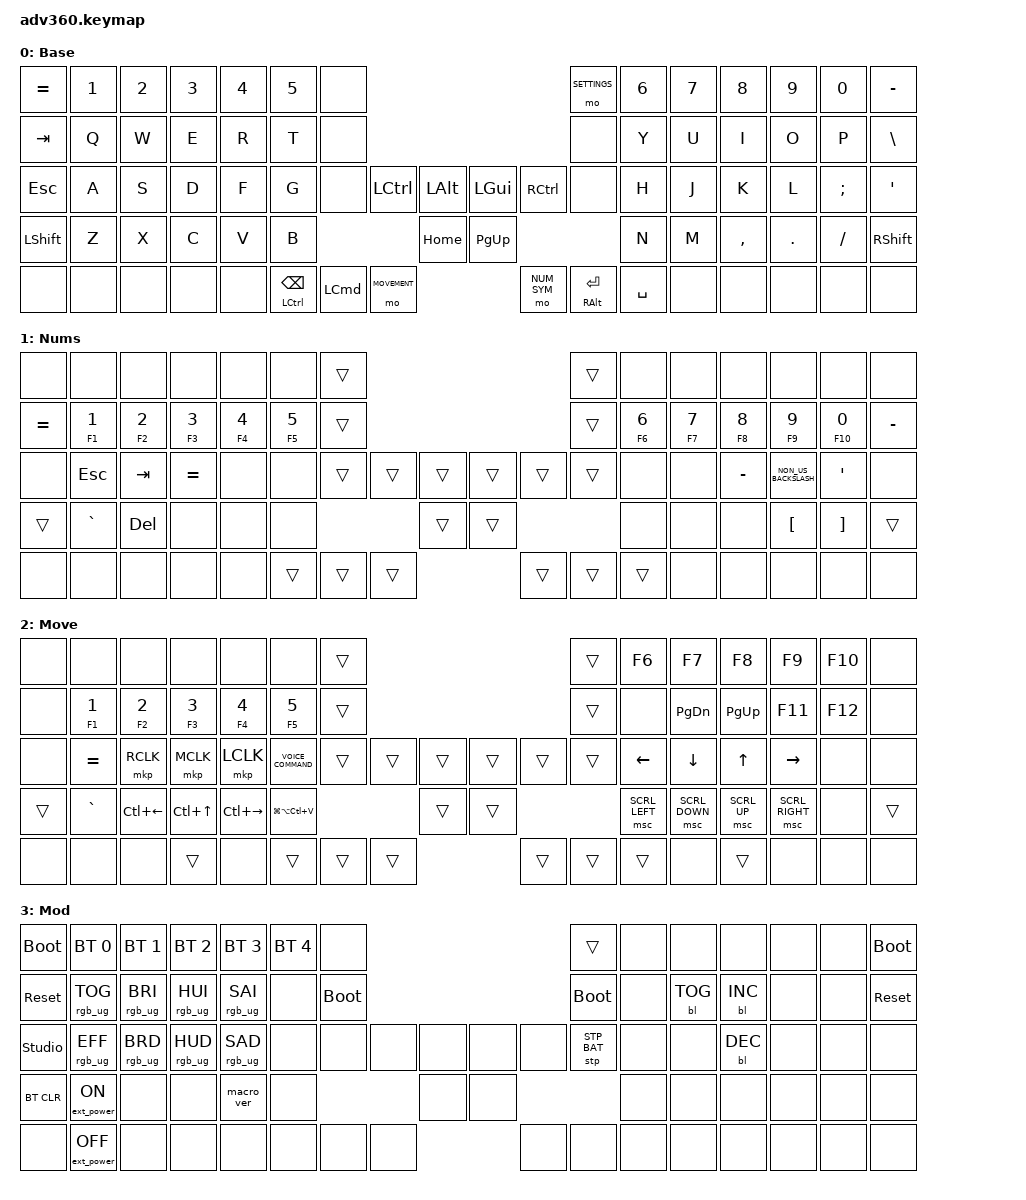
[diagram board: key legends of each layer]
#include <behaviors.dtsi>
#include <dt-bindings/zmk/keys.h>
#include <dt-bindings/zmk/bt.h>
#include <dt-bindings/zmk/rgb.h>
#include <dt-bindings/zmk/stp.h>
#include <dt-bindings/zmk/backlight.h>
#include <dt-bindings/zmk/pointing.h>
#include <dt-bindings/zmk/ext_power.h>

#define BASE 0
#define NUM_SYM 1
#define MOVEMENT 2
#define SETTINGS 3

/*
 * Ported from the Cosmos Dactyl keymap (cosmos_dactyl.keymap).
 *
 * Mapping notes:
 *   - The 6x4 main grid maps 1:1 onto the 360's main grid.
 *   - Cosmos thumbs (left: ctrl/bspc, cmd, lower | right: raise, alt/enter, space)
 *     sit on the 360's bottom thumb row (BSPC DEL END | PGDN ENTER SPACE).
 *   - Keys the Cosmos didn't have (inner columns, upper thumb keys) keep the
 *     360 defaults on the base layer and are transparent elsewhere.
 *   - Holding both layer thumbs activates the settings layer, as before. The
 *     360's dedicated Mod key (right inner top) also still opens it.
 */

/ {
    behaviors {
      #include "macros.dtsi"
      #include "version.dtsi"

      hm: homerow_mods {
          compatible = "zmk,behavior-hold-tap";
          label = "HOMEROW_MODS";
          #binding-cells = <2>;
          tapping-term-ms = <200>;
          quick_tap_ms = <175>;
          flavor = "tap-preferred";
          bindings = <&kp>, <&kp>;
      };

      mod_tap_or_repeat: mod_tap_or_repeat {
          compatible = "zmk,behavior-hold-tap";
          label = "MOD_TAP_OR_REPEAT";
          #binding-cells = <2>;
          tapping-term-ms = <200>;
          quick-tap-ms = <150>;
          bindings = <&kp>, <&kp>;
      };

      custom_mod_tap: custom_mod_tap {
          compatible = "zmk,behavior-hold-tap";
          label = "CUSTOM_MOD_TAP";
          #binding-cells = <2>;
          tapping-term-ms = <150>;
          flavor = "tap-preferred";
          bindings = <&kp>, <&kp>;
      };
    };

  keymap {
    compatible = "zmk,keymap";

    default_layer {
      display-name = "Base";
      bindings = <
        &kp EQUAL  &kp N1 &kp N2 &kp N3 &kp N4 &kp N5 &none                                                                                   &mo SETTINGS &kp N6 &kp N7 &kp N8    &kp N9  &kp N0   &kp MINUS
        &kp TAB    &kp Q  &kp W  &kp E  &kp R  &kp T  &none                                                                                   &none        &kp Y  &kp U  &kp I     &kp O   &kp P    &kp BSLH
        &kp ESC    &kp A  &kp S  &kp D  &kp F  &kp G  &none                    &kp LCTRL &kp LALT &kp LGUI &kp RCTRL                          &none        &kp H  &kp J  &kp K     &kp L   &kp SEMI &kp SQT
        &kp LSHFT  &kp Z  &kp X  &kp C  &kp V  &kp B                                     &kp HOME &kp PG_UP                                                &kp N  &kp M  &kp COMMA &kp DOT &kp FSLH &kp RSHFT
        &none      &none  &none  &none  &none         &mod_tap_or_repeat LCTRL BSPC &kp LCMD &mo MOVEMENT &mo NUM_SYM &custom_mod_tap RALT ENTER &kp SPACE         &none  &none     &none   &none    &none
      >;
    };

    num_sym {
      display-name = "Nums";
      bindings = <
        &none      &none           &none           &none           &none           &none           &trans                                     &trans &none           &none           &none           &none                 &none             &none
        &kp EQUAL  &mt F1 N1       &mt F2 N2       &mt F3 N3       &mt F4 N4       &mt F5 N5       &trans                                     &trans &mt F6 N6       &mt F7 N7       &mt F8 N8       &mt F9 N9             &mt F10 N0        &kp MINUS
        &none      &kp ESC         &kp TAB         &kp EQUAL       &none           &none           &trans   &trans &trans &trans &trans       &trans &none           &none           &kp MINUS       &kp NON_US_BACKSLASH  &kp SQT           &none
        &trans     &kp GRAVE       &kp DEL         &none           &none           &none                             &trans &trans                   &none           &none           &none           &kp LBKT              &kp RBKT          &trans
        &none      &none           &none           &none           &none                    &trans &trans &trans &trans &trans &trans                                &none           &none           &none                 &none             &none
      >;
    };

    movement {
      display-name = "Move";
      bindings = <
        &none      &none           &none           &none           &none           &none               &trans                                     &trans &kp F6          &kp F7          &kp F8          &kp F9          &kp F10  &none
        &none      &mt F1 N1       &mt F2 N2       &mt F3 N3       &mt F4 N4       &mt F5 N5           &trans                                     &trans &none           &kp PG_DN       &kp PG_UP       &kp F11         &kp F12  &none
        &none      &kp EQUAL       &mkp RCLK       &mkp MCLK       &mkp LCLK       &kp C_VOICE_COMMAND &trans   &trans &trans &trans &trans       &trans &kp LEFT        &kp DOWN        &kp UP          &kp RIGHT       &none    &none
        &trans     &kp GRAVE       &kp LC(LEFT)    &kp LC(UP)      &kp LC(RIGHT)   &kp LG(LA(LC(V)))                     &trans &trans                   &msc SCRL_LEFT  &msc SCRL_DOWN  &msc SCRL_UP    &msc SCRL_RIGHT &none    &trans
        &none      &none           &none           &trans          &none                        &trans &trans &trans &trans &trans &trans                            &none           &trans          &none           &none    &none
      >;
    };

    settings {
      display-name = "Mod";
      bindings = <
        &bootloader    &bt BT_SEL 0       &bt BT_SEL 1    &bt BT_SEL 2    &bt BT_SEL 3    &bt BT_SEL 4  &none                                     &trans        &none &none      &none      &none &none &bootloader
        &sys_reset     &rgb_ug RGB_TOG    &rgb_ug RGB_BRI &rgb_ug RGB_HUI &rgb_ug RGB_SAI &none         &bootloader                               &bootloader   &none &bl BL_TOG &bl BL_INC &none &none &sys_reset
        &studio_unlock &rgb_ug RGB_EFF    &rgb_ug RGB_BRD &rgb_ug RGB_HUD &rgb_ug RGB_SAD &none         &none       &none &none &none &none       &stp STP_BAT  &none &none      &bl BL_DEC &none &none &none
        &bt BT_CLR     &ext_power EP_ON   &none           &none           &macro_ver      &none                           &none &none                           &none &none      &none      &none &none &none
        &none          &ext_power EP_OFF  &none           &none           &none                         &none &none &none &none &none &none                   &none      &none      &none &none &none
      >;
    };

    extra1 {
      display-name = "Red";
      status = "reserved";
    };

    extra2 {
      display-name = "Purple";
      status = "reserved";
    };

    extra3 {
      display-name = "Cyan";
      status = "reserved";
    };

    extra4 {
      display-name = "Yellow";
      status = "reserved";
    };
  };

  conditional_layers {
    compatible = "zmk,conditional-layers";

    settings_on_both_layers {
      if-layers = <NUM_SYM MOVEMENT>;
      then-layer = <SETTINGS>;
    };
  };
};
